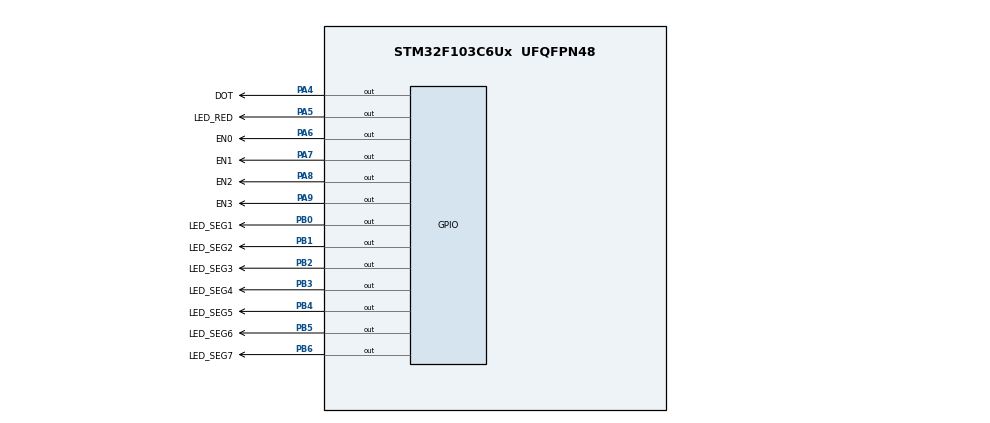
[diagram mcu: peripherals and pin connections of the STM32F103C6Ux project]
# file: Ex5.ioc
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Mcu.Family=STM32F1
Mcu.Name=STM32F103C6Ux
Mcu.Package=UFQFPN48
NVIC.PriorityGroup=NVIC_PRIORITYGROUP_4
PA4.GPIO_Label=DOT
PA4.Signal=GPIO_Output
PA5.GPIO_Label=LED_RED
PA5.Signal=GPIO_Output
PA6.GPIO_Label=EN0
PA6.Signal=GPIO_Output
PA7.GPIO_Label=EN1
PA7.Signal=GPIO_Output
PA8.GPIO_Label=EN2
PA8.Signal=GPIO_Output
PA9.GPIO_Label=EN3
PA9.Signal=GPIO_Output
PB0.GPIO_Label=LED_SEG1
PB0.Signal=GPIO_Output
PB1.GPIO_Label=LED_SEG2
PB1.Signal=GPIO_Output
PB2.GPIO_Label=LED_SEG3
PB2.Signal=GPIO_Output
PB3.GPIO_Label=LED_SEG4
PB3.Signal=GPIO_Output
PB4.GPIO_Label=LED_SEG5
PB4.Signal=GPIO_Output
PB5.GPIO_Label=LED_SEG6
PB5.Signal=GPIO_Output
PB6.GPIO_Label=LED_SEG7
PB6.Signal=GPIO_Output
ProjectManager.HeapSize=0x200
ProjectManager.StackSize=0x400
ProjectManager.TargetToolchain=STM32CubeIDE
RCC.APB1Freq_Value=8000000
RCC.APB2Freq_Value=8000000
VP_SYS_VS_ND.Mode=No_Debug
board=custom

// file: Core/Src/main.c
/* USER CODE BEGIN Header */
/**
  ******************************************************************************
  * @file           : main.c
  * @brief          : Main program body
  ******************************************************************************
  * @attention
  *
  * <h2><center>&copy; Copyright (c) 2022 STMicroelectronics.
  * All rights reserved.</center></h2>
  *
  * This software component is licensed by ST under BSD 3-Clause license,
  * the "License"; You may not use this file except in compliance with the
  * License. You may obtain a copy of the License at:
  *                        opensource.org/licenses/BSD-3-Clause
  *
  ******************************************************************************
  */
/* USER CODE END Header */
#include "main.h"

/* USER CODE BEGIN Includes */
#include<math.h>
/* USER CODE END Includes */

void SystemClock_Config(void);
static void MX_GPIO_Init(void);

/* USER CODE BEGIN 0 */
void display7SEG(int num){
	if(num==0){
		HAL_GPIO_WritePin(LED_SEG1_GPIO_Port, LED_SEG1_Pin, 0);
		HAL_GPIO_WritePin(LED_SEG2_GPIO_Port, LED_SEG2_Pin, 0);
		HAL_GPIO_WritePin(LED_SEG3_GPIO_Port, LED_SEG3_Pin, 0);
		HAL_GPIO_WritePin(LED_SEG4_GPIO_Port, LED_SEG4_Pin, 0);
		HAL_GPIO_WritePin(LED_SEG5_GPIO_Port, LED_SEG5_Pin, 0);
		HAL_GPIO_WritePin(LED_SEG6_GPIO_Port, LED_SEG6_Pin, 0);
		HAL_GPIO_WritePin(LED_SEG7_GPIO_Port, LED_SEG7_Pin, 1);
	}
	if(num==1){
		HAL_GPIO_WritePin(LED_SEG1_GPIO_Port, LED_SEG1_Pin, 1);
		HAL_GPIO_WritePin(LED_SEG2_GPIO_Port, LED_SEG2_Pin, 0);
		HAL_GPIO_WritePin(LED_SEG3_GPIO_Port, LED_SEG3_Pin, 0);
		HAL_GPIO_WritePin(LED_SEG4_GPIO_Port, LED_SEG4_Pin, 1);
		HAL_GPIO_WritePin(LED_SEG5_GPIO_Port, LED_SEG5_Pin, 1);
		HAL_GPIO_WritePin(LED_SEG6_GPIO_Port, LED_SEG6_Pin, 1);
		HAL_GPIO_WritePin(LED_SEG7_GPIO_Port, LED_SEG7_Pin, 1);
	}
	if(num==2){
		HAL_GPIO_WritePin(LED_SEG1_GPIO_Port, LED_SEG1_Pin, 0);
		HAL_GPIO_WritePin(LED_SEG2_GPIO_Port, LED_SEG2_Pin, 0);
		HAL_GPIO_WritePin(LED_SEG3_GPIO_Port, LED_SEG3_Pin, 1);
		HAL_GPIO_WritePin(LED_SEG4_GPIO_Port, LED_SEG4_Pin, 0);
		HAL_GPIO_WritePin(LED_SEG5_GPIO_Port, LED_SEG5_Pin, 0);
		HAL_GPIO_WritePin(LED_SEG6_GPIO_Port, LED_SEG6_Pin, 1);
		HAL_GPIO_WritePin(LED_SEG7_GPIO_Port, LED_SEG7_Pin, 0);
	}
	if(num==3){
		HAL_GPIO_WritePin(LED_SEG1_GPIO_Port, LED_SEG1_Pin, 0);
		HAL_GPIO_WritePin(LED_SEG2_GPIO_Port, LED_SEG2_Pin, 0);
		HAL_GPIO_WritePin(LED_SEG3_GPIO_Port, LED_SEG3_Pin, 0);
		HAL_GPIO_WritePin(LED_SEG4_GPIO_Port, LED_SEG4_Pin, 0);
		HAL_GPIO_WritePin(LED_SEG5_GPIO_Port, LED_SEG5_Pin, 1);
		HAL_GPIO_WritePin(LED_SEG6_GPIO_Port, LED_SEG6_Pin, 1);
		HAL_GPIO_WritePin(LED_SEG7_GPIO_Port, LED_SEG7_Pin, 0);
	}
	if(num==4){
		HAL_GPIO_WritePin(LED_SEG1_GPIO_Port, LED_SEG1_Pin, 1);
		HAL_GPIO_WritePin(LED_SEG2_GPIO_Port, LED_SEG2_Pin, 0);
		HAL_GPIO_WritePin(LED_SEG3_GPIO_Port, LED_SEG3_Pin, 0);
		HAL_GPIO_WritePin(LED_SEG4_GPIO_Port, LED_SEG4_Pin, 1);
		HAL_GPIO_WritePin(LED_SEG5_GPIO_Port, LED_SEG5_Pin, 1);
		HAL_GPIO_WritePin(LED_SEG6_GPIO_Port, LED_SEG6_Pin, 0);
		HAL_GPIO_WritePin(LED_SEG7_GPIO_Port, LED_SEG7_Pin, 0);
	}
	if(num==5){
		HAL_GPIO_WritePin(LED_SEG1_GPIO_Port, LED_SEG1_Pin, 0);
		HAL_GPIO_WritePin(LED_SEG2_GPIO_Port, LED_SEG2_Pin, 1);
		HAL_GPIO_WritePin(LED_SEG3_GPIO_Port, LED_SEG3_Pin, 0);
		HAL_GPIO_WritePin(LED_SEG4_GPIO_Port, LED_SEG4_Pin, 0);
		HAL_GPIO_WritePin(LED_SEG5_GPIO_Port, LED_SEG5_Pin, 1);
		HAL_GPIO_WritePin(LED_SEG6_GPIO_Port, LED_SEG6_Pin, 0);
		HAL_GPIO_WritePin(LED_SEG7_GPIO_Port, LED_SEG7_Pin, 0);
	}
	if(num==6){
		HAL_GPIO_WritePin(LED_SEG1_GPIO_Port, LED_SEG1_Pin, 0);
		HAL_GPIO_WritePin(LED_SEG2_GPIO_Port, LED_SEG2_Pin, 1);
		HAL_GPIO_WritePin(LED_SEG3_GPIO_Port, LED_SEG3_Pin, 0);
		HAL_GPIO_WritePin(LED_SEG4_GPIO_Port, LED_SEG4_Pin, 0);
		HAL_GPIO_WritePin(LED_SEG5_GPIO_Port, LED_SEG5_Pin, 0);
		HAL_GPIO_WritePin(LED_SEG6_GPIO_Port, LED_SEG6_Pin, 0);
		HAL_GPIO_WritePin(LED_SEG7_GPIO_Port, LED_SEG7_Pin, 0);
	}
	if(num==7){
		HAL_GPIO_WritePin(LED_SEG1_GPIO_Port, LED_SEG1_Pin, 0);
		HAL_GPIO_WritePin(LED_SEG2_GPIO_Port, LED_SEG2_Pin, 0);
		HAL_GPIO_WritePin(LED_SEG3_GPIO_Port, LED_SEG3_Pin, 0);
		HAL_GPIO_WritePin(LED_SEG4_GPIO_Port, LED_SEG4_Pin, 1);
		HAL_GPIO_WritePin(LED_SEG5_GPIO_Port, LED_SEG5_Pin, 1);
		HAL_GPIO_WritePin(LED_SEG6_GPIO_Port, LED_SEG6_Pin, 1);
		HAL_GPIO_WritePin(LED_SEG7_GPIO_Port, LED_SEG7_Pin, 1);
	}
	if(num==8){
		HAL_GPIO_WritePin(LED_SEG1_GPIO_Port, LED_SEG1_Pin, 0);
		HAL_GPIO_WritePin(LED_SEG2_GPIO_Port, LED_SEG2_Pin, 0);
		HAL_GPIO_WritePin(LED_SEG3_GPIO_Port, LED_SEG3_Pin, 0);
		HAL_GPIO_WritePin(LED_SEG4_GPIO_Port, LED_SEG4_Pin, 0);
		HAL_GPIO_WritePin(LED_SEG5_GPIO_Port, LED_SEG5_Pin, 0);
		HAL_GPIO_WritePin(LED_SEG6_GPIO_Port, LED_SEG6_Pin, 0);
		HAL_GPIO_WritePin(LED_SEG7_GPIO_Port, LED_SEG7_Pin, 0);
	}
	if(num==9){
		HAL_GPIO_WritePin(LED_SEG1_GPIO_Port, LED_SEG1_Pin, 0);
		HAL_GPIO_WritePin(LED_SEG2_GPIO_Port, LED_SEG2_Pin, 0);
		HAL_GPIO_WritePin(LED_SEG3_GPIO_Port, LED_SEG3_Pin, 0);
		HAL_GPIO_WritePin(LED_SEG4_GPIO_Port, LED_SEG4_Pin, 0);
		HAL_GPIO_WritePin(LED_SEG5_GPIO_Port, LED_SEG5_Pin, 1);
		HAL_GPIO_WritePin(LED_SEG6_GPIO_Port, LED_SEG6_Pin, 0);
		HAL_GPIO_WritePin(LED_SEG7_GPIO_Port, LED_SEG7_Pin, 0);
	}
}

void updateClockBuffer(){
	int a = hour/10;
	int b = hour%10;
	int c = minute/10;
	int d = minute%10;
	HAL_GPIO_WritePin(LED_SEG1_GPIO_Port, LED_SEG1_Pin, RESET);

}
/* USER CODE END 0 */

int main(void)
{

  /* MCU Configuration--------------------------------------------------------*/

  /* Reset of all peripherals, Initializes the Flash interface and the Systick. */
  HAL_Init();

  /* Configure the system clock */
  SystemClock_Config();

  /* Initialize all configured peripherals */
  MX_GPIO_Init();

  /* Infinite loop */
  /* USER CODE BEGIN WHILE */
  int hour=15, minute=8, second=50;
  while (1)
  {
	  second++;
	  if(second>=60){
		  second=0;
		  minute++;
	  }
	  if(minute>=60){
		  minute=0;
		  hour++;
	  }
	  if(hour>=24){
		  hour=0;
	  }
	  updateClockBuffer();
	  HAL_Delay(1000);
    /* USER CODE END WHILE */

  }
}

void SystemClock_Config(void)
{
  RCC_OscInitTypeDef RCC_OscInitStruct = {0};
  RCC_ClkInitTypeDef RCC_ClkInitStruct = {0};

  /** Initializes the RCC Oscillators according to the specified parameters
  * in the RCC_OscInitTypeDef structure.
  */
  RCC_OscInitStruct.OscillatorType = RCC_OSCILLATORTYPE_HSI;
  RCC_OscInitStruct.HSIState = RCC_HSI_ON;
  RCC_OscInitStruct.HSICalibrationValue = RCC_HSICALIBRATION_DEFAULT;
  RCC_OscInitStruct.PLL.PLLState = RCC_PLL_NONE;
  if (HAL_RCC_OscConfig(&RCC_OscInitStruct) != HAL_OK)
  {
    Error_Handler();
  }
  /** Initializes the CPU, AHB and APB buses clocks
  */
  RCC_ClkInitStruct.ClockType = RCC_CLOCKTYPE_HCLK|RCC_CLOCKTYPE_SYSCLK
                              |RCC_CLOCKTYPE_PCLK1|RCC_CLOCKTYPE_PCLK2;
  RCC_ClkInitStruct.SYSCLKSource = RCC_SYSCLKSOURCE_HSI;
  RCC_ClkInitStruct.AHBCLKDivider = RCC_SYSCLK_DIV1;
  RCC_ClkInitStruct.APB1CLKDivider = RCC_HCLK_DIV1;
  RCC_ClkInitStruct.APB2CLKDivider = RCC_HCLK_DIV1;

  if (HAL_RCC_ClockConfig(&RCC_ClkInitStruct, FLASH_LATENCY_0) != HAL_OK)
  {
    Error_Handler();
  }
}

static void MX_GPIO_Init(void)
{
  GPIO_InitTypeDef GPIO_InitStruct = {0};

  /* GPIO Ports Clock Enable */
  __HAL_RCC_GPIOA_CLK_ENABLE();
  __HAL_RCC_GPIOB_CLK_ENABLE();

  /*Configure GPIO pin Output Level */
  HAL_GPIO_WritePin(GPIOA, DOT_Pin|LED_RED_Pin|EN0_Pin|EN1_Pin
                          |EN2_Pin|EN3_Pin, GPIO_PIN_RESET);

  /*Configure GPIO pin Output Level */
  HAL_GPIO_WritePin(GPIOB, LED_SEG1_Pin|LED_SEG2_Pin|LED_SEG3_Pin|LED_SEG4_Pin
                          |LED_SEG5_Pin|LED_SEG6_Pin|LED_SEG7_Pin, GPIO_PIN_RESET);

  /*Configure GPIO pins : DOT_Pin LED_RED_Pin EN0_Pin EN1_Pin
                           EN2_Pin EN3_Pin */
  GPIO_InitStruct.Pin = DOT_Pin|LED_RED_Pin|EN0_Pin|EN1_Pin
                          |EN2_Pin|EN3_Pin;
  GPIO_InitStruct.Mode = GPIO_MODE_OUTPUT_PP;
  GPIO_InitStruct.Pull = GPIO_NOPULL;
  GPIO_InitStruct.Speed = GPIO_SPEED_FREQ_LOW;
  HAL_GPIO_Init(GPIOA, &GPIO_InitStruct);

  /*Configure GPIO pins : LED_SEG1_Pin LED_SEG2_Pin LED_SEG3_Pin LED_SEG4_Pin
                           LED_SEG5_Pin LED_SEG6_Pin LED_SEG7_Pin */
  GPIO_InitStruct.Pin = LED_SEG1_Pin|LED_SEG2_Pin|LED_SEG3_Pin|LED_SEG4_Pin
                          |LED_SEG5_Pin|LED_SEG6_Pin|LED_SEG7_Pin;
  GPIO_InitStruct.Mode = GPIO_MODE_OUTPUT_PP;
  GPIO_InitStruct.Pull = GPIO_NOPULL;
  GPIO_InitStruct.Speed = GPIO_SPEED_FREQ_LOW;
  HAL_GPIO_Init(GPIOB, &GPIO_InitStruct);

}

void Error_Handler(void)
{
  __disable_irq();
  while (1)
  {
  }
}

/************************ (C) COPYRIGHT STMicroelectronics *****END OF FILE****/
